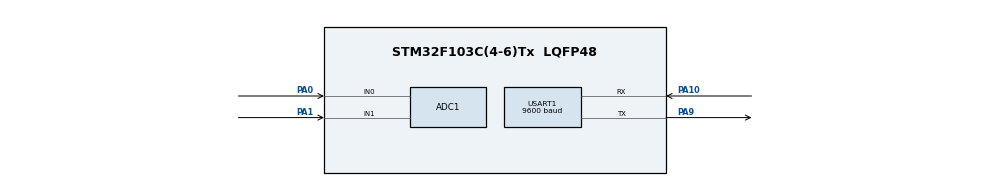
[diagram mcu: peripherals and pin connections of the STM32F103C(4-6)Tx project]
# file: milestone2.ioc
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ADC1.Channel-0\#ChannelRegularConversion=ADC_CHANNEL_0
ADC1.NbrOfConversionFlag=1
ADC1.Rank-0\#ChannelRegularConversion=1
ADC1.SamplingTime-0\#ChannelRegularConversion=ADC_SAMPLETIME_1CYCLE_5
ADC1.master=1
Mcu.Family=STM32F1
Mcu.Name=STM32F103C(4-6)Tx
Mcu.Package=LQFP48
NVIC.PriorityGroup=NVIC_PRIORITYGROUP_4
PA0-WKUP.Signal=ADCx_IN0
PA1.Signal=ADCx_IN1
PA10.Mode=Asynchronous
PA10.Signal=USART1_RX
PA9.Mode=Asynchronous
PA9.Signal=USART1_TX
ProjectManager.HeapSize=0x200
ProjectManager.StackSize=0x400
ProjectManager.TargetToolchain=STM32CubeIDE
RCC.APB1Freq_Value=8000000
RCC.APB2Freq_Value=8000000
SH.ADCx_IN0.0=ADC1_IN0,IN0
SH.ADCx_IN1.0=ADC1_IN1,IN1
USART1.BaudRate=9600
USART1.VirtualMode=VM_ASYNC
VP_SYS_VS_ND.Mode=No_Debug
board=custom

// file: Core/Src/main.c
/* USER CODE BEGIN Header */
/**
  ******************************************************************************
  * @file           : main.c
  * @brief          : Main program body
  ******************************************************************************
  * @attention
  *
  * Copyright (c) 2026 STMicroelectronics.
  * All rights reserved.
  *
  * This software is licensed under terms that can be found in the LICENSE file
  * in the root directory of this software component.
  * If no LICENSE file comes with this software, it is provided AS-IS.
  *
  ******************************************************************************
  */
/* USER CODE END Header */
#include "main.h"
#include <stdio.h>
#include <string.h>

/* USER CODE BEGIN Includes */
uint32_t adc_val1 =0;
uint32_t adc_val2 =0;
int temp=0;
int throttle =0;
char msg[60];
/* USER CODE END Includes */

ADC_HandleTypeDef hadc1;

UART_HandleTypeDef huart1;

void SystemClock_Config(void);
static void MX_GPIO_Init(void);
static void MX_ADC1_Init(void);
static void MX_USART1_UART_Init(void);

int main(void)
{

  /* MCU Configuration--------------------------------------------------------*/

  /* Reset of all peripherals, Initializes the Flash interface and the Systick. */
  HAL_Init();

  /* Configure the system clock */
  SystemClock_Config();

  /* Initialize all configured peripherals */
  MX_GPIO_Init();
  MX_ADC1_Init();
  MX_USART1_UART_Init();

  /* Infinite loop */
  /* USER CODE BEGIN WHILE */
  while (1)
  {
	  // Read Channel 0
	    HAL_ADC_Start(&hadc1);
	    HAL_ADC_PollForConversion(&hadc1, 100);
	    adc_val1 = HAL_ADC_GetValue(&hadc1);
	    HAL_ADC_Stop(&hadc1);

	    // Read Channel 1
	    HAL_ADC_Start(&hadc1);
	    HAL_ADC_PollForConversion(&hadc1, 100);
	    adc_val2 = HAL_ADC_GetValue(&hadc1);
	    HAL_ADC_Stop(&hadc1);

	    // Convert values
	    temp = (int)((adc_val1 / 4095.0) * 150.0);
	    throttle = (int)((adc_val2 / 4095.0) * 100.0);

	    // Send over UART
	    sprintf(msg, "Engine Temp = %d | Throttle = %d\r\n", temp, throttle);
	    HAL_UART_Transmit(&huart1, (uint8_t*)msg, strlen(msg), 100);

	    HAL_Delay(500);
    /* USER CODE END WHILE */

  }
}

void SystemClock_Config(void)
{
  RCC_OscInitTypeDef RCC_OscInitStruct = {0};
  RCC_ClkInitTypeDef RCC_ClkInitStruct = {0};
  RCC_PeriphCLKInitTypeDef PeriphClkInit = {0};

  /** Initializes the RCC Oscillators according to the specified parameters
  * in the RCC_OscInitTypeDef structure.
  */
  RCC_OscInitStruct.OscillatorType = RCC_OSCILLATORTYPE_HSI;
  RCC_OscInitStruct.HSIState = RCC_HSI_ON;
  RCC_OscInitStruct.HSICalibrationValue = RCC_HSICALIBRATION_DEFAULT;
  RCC_OscInitStruct.PLL.PLLState = RCC_PLL_NONE;
  if (HAL_RCC_OscConfig(&RCC_OscInitStruct) != HAL_OK)
  {
    Error_Handler();
  }

  /** Initializes the CPU, AHB and APB buses clocks
  */
  RCC_ClkInitStruct.ClockType = RCC_CLOCKTYPE_HCLK|RCC_CLOCKTYPE_SYSCLK
                              |RCC_CLOCKTYPE_PCLK1|RCC_CLOCKTYPE_PCLK2;
  RCC_ClkInitStruct.SYSCLKSource = RCC_SYSCLKSOURCE_HSI;
  RCC_ClkInitStruct.AHBCLKDivider = RCC_SYSCLK_DIV1;
  RCC_ClkInitStruct.APB1CLKDivider = RCC_HCLK_DIV1;
  RCC_ClkInitStruct.APB2CLKDivider = RCC_HCLK_DIV1;

  if (HAL_RCC_ClockConfig(&RCC_ClkInitStruct, FLASH_LATENCY_0) != HAL_OK)
  {
    Error_Handler();
  }
  PeriphClkInit.PeriphClockSelection = RCC_PERIPHCLK_ADC;
  PeriphClkInit.AdcClockSelection = RCC_ADCPCLK2_DIV2;
  if (HAL_RCCEx_PeriphCLKConfig(&PeriphClkInit) != HAL_OK)
  {
    Error_Handler();
  }
}

static void MX_ADC1_Init(void)
{

  ADC_ChannelConfTypeDef sConfig = {0};

  /** Common config
  */
  hadc1.Instance = ADC1;
  hadc1.Init.ScanConvMode = ADC_SCAN_DISABLE;
  hadc1.Init.ContinuousConvMode = DISABLE;
  hadc1.Init.DiscontinuousConvMode = DISABLE;
  hadc1.Init.ExternalTrigConv = ADC_SOFTWARE_START;
  hadc1.Init.DataAlign = ADC_DATAALIGN_RIGHT;
  hadc1.Init.NbrOfConversion = 1;
  if (HAL_ADC_Init(&hadc1) != HAL_OK)
  {
    Error_Handler();
  }

  /** Configure Regular Channel
  */
  sConfig.Channel = ADC_CHANNEL_0;
  sConfig.Rank = ADC_REGULAR_RANK_1;
  sConfig.SamplingTime = ADC_SAMPLETIME_1CYCLE_5;
  if (HAL_ADC_ConfigChannel(&hadc1, &sConfig) != HAL_OK)
  {
    Error_Handler();
  }

}

static void MX_USART1_UART_Init(void)
{

  huart1.Instance = USART1;
  huart1.Init.BaudRate = 9600;
  huart1.Init.WordLength = UART_WORDLENGTH_8B;
  huart1.Init.StopBits = UART_STOPBITS_1;
  huart1.Init.Parity = UART_PARITY_NONE;
  huart1.Init.Mode = UART_MODE_TX_RX;
  huart1.Init.HwFlowCtl = UART_HWCONTROL_NONE;
  huart1.Init.OverSampling = UART_OVERSAMPLING_16;
  if (HAL_UART_Init(&huart1) != HAL_OK)
  {
    Error_Handler();
  }

}

static void MX_GPIO_Init(void)
{

  /* GPIO Ports Clock Enable */
  __HAL_RCC_GPIOA_CLK_ENABLE();

}

void Error_Handler(void)
{
  __disable_irq();
  while (1)
  {
  }
}
